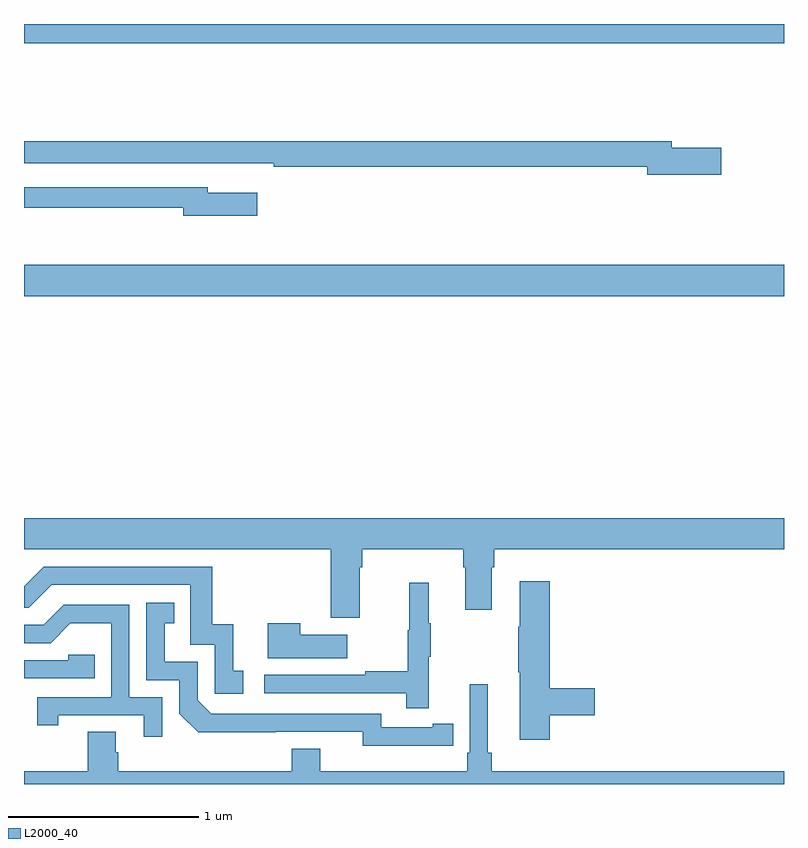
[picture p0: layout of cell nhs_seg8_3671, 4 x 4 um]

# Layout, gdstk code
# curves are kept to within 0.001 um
import gdstk
lib = gdstk.Library(unit=1e-6, precision=1e-09)
def R(c, l, rs):  # rectangles x0, y0, x1, y1
    for r in rs: c.add(gdstk.rectangle(r[:2], r[2:], *l))
def P(c, l, *ps):  # polygons
    for p in ps: c.add(gdstk.Polygon(p, *l))
L2000_40 = (2000, 40)

nhs_seg8_3671 = lib.new_cell('nhs_seg8_3671')
R(nhs_seg8_3671, L2000_40, [(337,1148.468,341,1148.632), (337,1149.8,341,1149.9)])
P(nhs_seg8_3671, L2000_40, [(340.669,1149.248),(340.408,1149.248),(340.408,1149.284),(337,1149.284),(337,1149.168),(338.062,1149.168),(338.062,1149.167),(338.314,1149.167),(338.314,1149.148),(340.28,1149.148),(340.28,1149.106),(340.669,1149.106)],
  [(338.227,1149.013),(337.966,1149.013),(337.966,1149.042),(337,1149.042),(337,1148.934),(337.838,1148.934),(337.838,1148.891),(338.227,1148.891)],
  [(338.767,1147.04),(338.78,1147.04),(338.78,1147.136),(339.311,1147.136),(339.311,1147.04),(339.323,1147.04),(339.323,1146.816),(339.463,1146.816),(339.463,1147.04),(339.476,1147.04),(339.476,1147.136),(341,1147.136),(341,1147.3),(337,1147.3),(337,1147.136),(338.615,1147.136),(338.615,1146.774),(338.767,1146.774)],
  [(338.155,1146.495),(338.102,1146.495),(338.102,1146.742),(337.991,1146.742),(337.991,1147.044),(337.104,1147.044),(337,1146.94),(337,1146.828),(337.026,1146.828),(337.146,1146.948),(337.875,1146.948),(337.875,1146.633),(338.004,1146.633),(338.004,1146.375),(338.155,1146.375)],
  [(339.767,1146.262),(340.003,1146.262),(340.003,1146.404),(339.767,1146.404),(339.767,1146.967),(339.608,1146.967),(339.608,1146.728),(339.601,1146.728),(339.601,1146.487),(339.608,1146.487),(339.608,1146.132),(339.767,1146.132)],
  [(339.131,1146.571),(339.142,1146.571),(339.142,1146.745),(339.131,1146.745),(339.131,1146.958),(339.028,1146.958),(339.028,1146.708),(339.021,1146.708),(339.021,1146.494),(338.797,1146.494),(338.797,1146.474),(338.265,1146.474),(338.265,1146.378),(339.013,1146.378),(339.013,1146.3),(339.131,1146.3)],
  [(339.152,1146.102),(339.26,1146.102),(339.26,1146.218),(339.152,1146.218),(339.152,1146.198),(338.88,1146.198),(338.88,1146.27),(337.986,1146.27),(337.914,1146.342),(337.914,1146.543),(337.741,1146.543),(337.741,1146.747),(337.79,1146.747),(337.79,1146.853),(337.644,1146.853),(337.644,1146.447),(337.818,1146.447),(337.818,1146.27),(337.916,1146.173),(338.784,1146.174),(338.784,1146.101)],
  [(337.728,1146.357),(337.554,1146.357),(337.554,1146.843),(337.208,1146.843),(337.103,1146.738),(337,1146.738),(337,1146.642),(337.14,1146.642),(337.244,1146.746),(337.458,1146.746),(337.458,1146.357),(337.069,1146.357),(337.069,1146.21),(337.18,1146.21),(337.18,1146.261),(337.631,1146.261),(337.631,1146.15),(337.728,1146.15)],
  [(338.701,1146.685),(338.453,1146.685),(338.453,1146.745),(338.282,1146.745),(338.282,1146.563),(338.701,1146.563)],
  [(337.373,1146.579),(337.233,1146.579),(337.233,1146.552),(337,1146.552),(337,1146.456),(337.373,1146.456)],
  [(341,1145.968),(339.461,1145.968),(339.461,1146.064),(339.442,1146.064),(339.442,1146.424),(339.345,1146.424),(339.345,1146.064),(339.332,1146.064),(339.332,1145.968),(338.56,1145.968),(338.56,1146.085),(338.408,1146.085),(338.408,1145.968),(337.496,1145.968),(337.496,1146.066),(337.483,1146.066),(337.483,1146.176),(337.336,1146.176),(337.336,1145.968),(337,1145.968),(337,1145.9),(341,1145.9)])

lib.write_gds('nhs_seg8_3671.gds')
